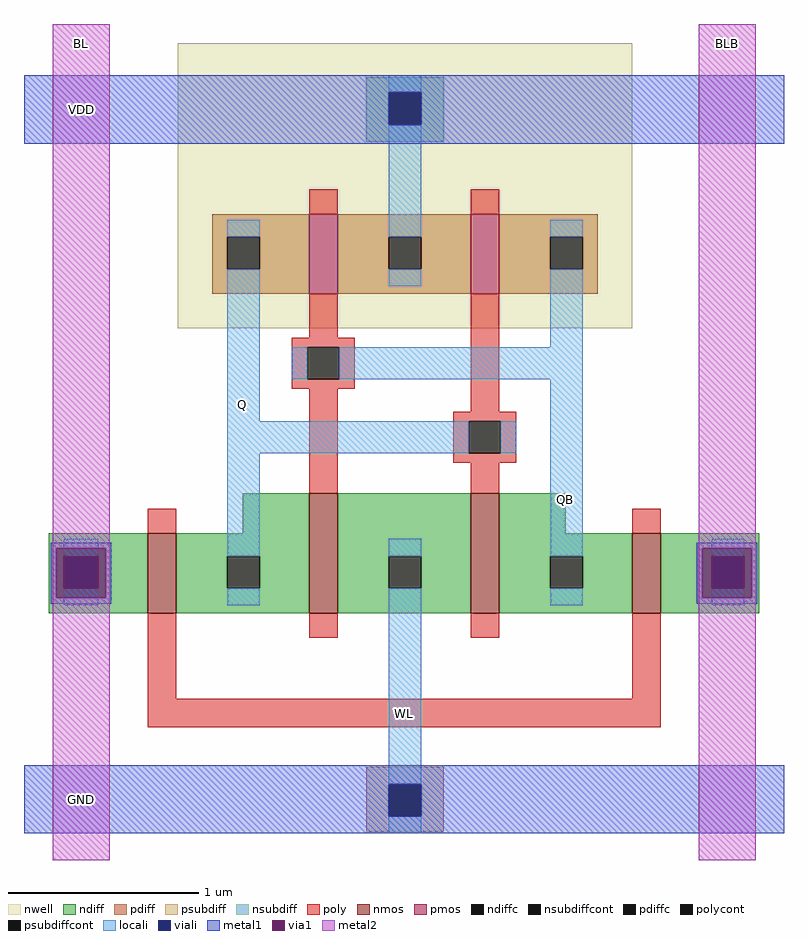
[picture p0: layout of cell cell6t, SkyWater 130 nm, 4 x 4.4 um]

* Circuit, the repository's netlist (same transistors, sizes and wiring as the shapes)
* NGSPICE file created from cell6t.ext - technology: sky130A

.subckt cell6t BL BLB WL VDD GND Q QB
X0 BLB WL QB GND sky130_fd_pr__nfet_01v8 ad=0.2184 pd=1.88 as=0.1837 ps=1.33 w=0.42 l=0.15
X1 GND QB Q GND sky130_fd_pr__nfet_01v8 ad=0.2205 pd=1.33 as=0.1837 ps=1.33 w=0.63 l=0.15
X2 VDD QB Q VDD sky130_fd_pr__pfet_01v8 ad=0.147 pd=1.12 as=0.2142 ps=1.86 w=0.42 l=0.15
X3 QB Q VDD VDD sky130_fd_pr__pfet_01v8 ad=0.2184 pd=1.88 as=0.147 ps=1.12 w=0.42 l=0.15
X4 Q WL BL GND sky130_fd_pr__nfet_01v8 ad=0.1837 pd=1.33 as=0.2184 ps=1.88 w=0.42 l=0.15
X5 QB Q GND GND sky130_fd_pr__nfet_01v8 ad=0.1837 pd=1.33 as=0.2205 ps=1.33 w=0.63 l=0.15
.ends

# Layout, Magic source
magic
tech sky130A
<< nwell >>
rect 51 150 290 300
<< nmos >>
rect 35 0 50 42
rect 120 0 135 63
rect 205 0 220 63
rect 290 0 305 42
<< pmos >>
rect 120 168 135 210
rect 205 168 220 210
<< ndiff >>
rect 85 42 120 63
rect -17 30 35 42
rect -17 13 -9 30
rect 9 13 35 30
rect -17 0 35 13
rect 50 30 120 42
rect 50 13 77 30
rect 94 13 120 30
rect 50 0 120 13
rect 135 30 205 63
rect 135 13 162 30
rect 179 13 205 30
rect 135 0 205 13
rect 220 42 255 63
rect 220 30 290 42
rect 220 13 247 30
rect 264 13 290 30
rect 220 0 290 13
rect 305 30 357 42
rect 305 13 332 30
rect 349 13 357 30
rect 305 0 357 13
<< pdiff >>
rect 69 198 120 210
rect 69 181 77 198
rect 94 181 120 198
rect 69 168 120 181
rect 135 198 205 210
rect 135 181 162 198
rect 179 181 205 198
rect 135 168 205 181
rect 220 198 272 210
rect 220 181 247 198
rect 264 181 272 198
rect 220 168 272 181
<< ndiffc >>
rect -9 13 9 30
rect 77 13 94 30
rect 162 13 179 30
rect 247 13 264 30
rect 332 13 349 30
<< pdiffc >>
rect 77 181 94 198
rect 162 181 179 198
rect 247 181 264 198
<< psubdiff >>
rect 150 -90 191 -81
rect 150 -107 162 -90
rect 179 -107 191 -90
rect 150 -115 191 -107
<< nsubdiff >>
rect 150 274 191 282
rect 150 257 162 274
rect 179 257 191 274
rect 150 248 191 257
<< psubdiffcont >>
rect 162 -107 179 -90
<< nsubdiffcont >>
rect 162 257 179 274
<< poly >>
rect 120 210 135 223
rect 205 210 220 223
rect 120 145 135 168
rect 111 140 144 145
rect 111 123 119 140
rect 136 123 144 140
rect 111 118 144 123
rect 120 63 135 118
rect 205 106 220 168
rect 196 101 229 106
rect 196 84 204 101
rect 221 84 229 101
rect 196 79 229 84
rect 205 63 220 79
rect 35 42 50 55
rect 290 42 305 55
rect 35 -45 50 0
rect 120 -13 135 0
rect 205 -13 220 0
rect 290 -45 305 0
rect 35 -60 305 -45
<< polycont >>
rect 119 123 136 140
rect 204 84 221 101
<< locali >>
rect 162 274 179 283
rect 77 198 94 207
rect 77 101 94 181
rect 162 198 179 257
rect 162 172 179 181
rect 247 198 264 207
rect 247 140 264 181
rect 111 123 119 140
rect 136 123 264 140
rect 77 84 204 101
rect 221 84 229 101
rect -9 30 9 39
rect -9 4 9 13
rect 77 30 94 84
rect 77 4 94 13
rect 162 30 179 39
rect 162 -90 179 13
rect 247 30 264 123
rect 247 4 264 13
rect 332 30 349 39
rect 332 4 349 13
rect 162 -116 179 -107
<< viali >>
rect 162 257 179 274
rect -9 13 9 30
rect 332 13 349 30
rect 162 -107 179 -90
<< metal1 >>
rect -30 274 370 283
rect -30 257 162 274
rect 179 257 370 274
rect -30 247 370 257
rect -16 34 16 37
rect -16 8 -13 34
rect 13 8 16 34
rect -16 5 16 8
rect 324 34 356 37
rect 324 8 327 34
rect 353 8 356 34
rect 324 5 356 8
rect -30 -90 370 -80
rect -30 -107 162 -90
rect 179 -107 370 -90
rect -30 -116 370 -107
<< via1 >>
rect -13 30 13 34
rect -13 13 -9 30
rect -9 13 9 30
rect 9 13 13 30
rect -13 8 13 13
rect 327 30 353 34
rect 327 13 332 30
rect 332 13 349 30
rect 349 13 353 30
rect 327 8 353 13
<< metal2 >>
rect -15 34 15 310
rect -15 8 -13 34
rect 13 8 15 34
rect -15 -130 15 8
rect 325 34 355 310
rect 325 8 327 34
rect 353 8 355 34
rect 325 -130 355 8
<< labels >>
rlabel metal2 0 300 0 300 0 BL
port 1 nsew
rlabel metal2 340 300 340 300 0 BLB
port 2 nsew
rlabel poly 170 -53 170 -53 0 WL
port 3 nsew
rlabel metal1 0 265 0 265 0 VDD
port 4 nsew
rlabel metal1 0 -98 0 -98 0 GND
port 5 nsew
rlabel locali 85 110 85 110 0 Q
port 6 nsew
rlabel locali 255 60 255 60 0 QB
port 7 nsew
<< end >>
